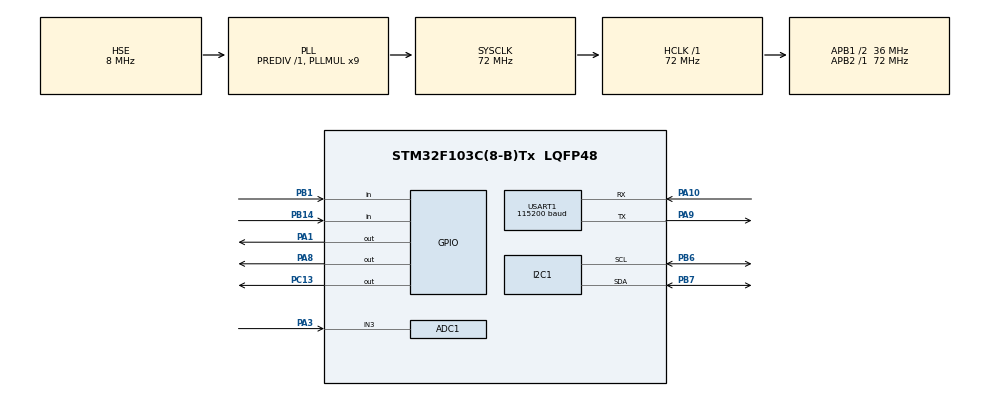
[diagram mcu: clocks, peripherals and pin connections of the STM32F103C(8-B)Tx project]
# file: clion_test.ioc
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ADC1.Channel-0\#ChannelRegularConversion=ADC_CHANNEL_3
ADC1.ExternalTrigConv=ADC_EXTERNALTRIGCONV_T3_TRGO
ADC1.NbrOfConversion=1
ADC1.NbrOfConversionFlag=1
ADC1.Rank-0\#ChannelRegularConversion=1
ADC1.SamplingTime-0\#ChannelRegularConversion=ADC_SAMPLETIME_13CYCLES_5
ADC1.master=1
FREERTOS.INCLUDE_uxTaskGetStackHighWaterMark=1
FREERTOS.INCLUDE_xTaskGetCurrentTaskHandle=1
FREERTOS.Mutexes01=tooken,Dynamic,NULL
FREERTOS.Tasks01=HIGHTask,2,200,HIGHTaskAPP,Default,NULL,Dynamic,NULL,NULL
FREERTOS.configGENERATE_RUN_TIME_STATS=1
FREERTOS.configRECORD_STACK_HIGH_ADDRESS=1
FREERTOS.configUSE_COUNTING_SEMAPHORES=1
FREERTOS.configUSE_STATS_FORMATTING_FUNCTIONS=1
FREERTOS.configUSE_TIMERS=1
FREERTOS.configUSE_TRACE_FACILITY=1
Mcu.Family=STM32F1
Mcu.Name=STM32F103C(8-B)Tx
Mcu.Package=LQFP48
NVIC.ADC1_2_IRQn=true\:6\:0\:true\:false\:true\:true\:true\:true\:true
NVIC.PriorityGroup=NVIC_PRIORITYGROUP_4
NVIC.TIM2_IRQn=true\:5\:0\:false\:false\:true\:true\:true\:true\:true
NVIC.TIM4_IRQn=true\:0\:0\:true\:false\:true\:false\:false\:true\:true
NVIC.TimeBase=TIM4_IRQn
NVIC.TimeBaseIP=TIM4
PA1.Signal=GPIO_Output
PA10.Mode=Asynchronous
PA10.Signal=USART1_RX
PA13.Mode=Serial_Wire
PA13.Signal=SYS_JTMS-SWDIO
PA14.Mode=Serial_Wire
PA14.Signal=SYS_JTCK-SWCLK
PA3.Signal=ADCx_IN3
PA8.PinState=GPIO_PIN_SET
PA8.Signal=GPIO_Output
PA9.Mode=Asynchronous
PA9.Signal=USART1_TX
PB1.GPIO_PuPd=GPIO_PULLUP
PB1.Signal=GPIO_Input
PB14.GPIO_PuPd=GPIO_PULLUP
PB14.Signal=GPIO_Input
PB6.Mode=I2C
PB6.Signal=I2C1_SCL
PB7.Mode=I2C
PB7.Signal=I2C1_SDA
PC13-TAMPER-RTC.PinState=GPIO_PIN_RESET
PC13-TAMPER-RTC.Signal=GPIO_Output
PD0-OSC_IN.Mode=HSE-External-Oscillator
PD0-OSC_IN.Signal=RCC_OSC_IN
PD1-OSC_OUT.Mode=HSE-External-Oscillator
PD1-OSC_OUT.Signal=RCC_OSC_OUT
ProjectManager.HeapSize=0x200
ProjectManager.StackSize=0x400
ProjectManager.TargetToolchain=CMake
RCC.ADCPresc=RCC_ADCPCLK2_DIV6
RCC.AHBFreq_Value=72000000
RCC.APB1CLKDivider=RCC_HCLK_DIV2
RCC.APB1Freq_Value=36000000
RCC.APB1TimFreq_Value=72000000
RCC.APB2Freq_Value=72000000
RCC.APB2TimFreq_Value=72000000
RCC.HCLKFreq_Value=72000000
RCC.PLLMUL=RCC_PLL_MUL9
RCC.PLLSourceVirtual=RCC_PLLSOURCE_HSE
RCC.SYSCLKFreq_VALUE=72000000
RCC.SYSCLKSource=RCC_SYSCLKSOURCE_PLLCLK
RCC.USBFreq_Value=72000000
SH.ADCx_IN3.0=ADC1_IN3,IN3
TIM1.Prescaler=71
TIM2.AutoReloadPreload=TIM_AUTORELOAD_PRELOAD_ENABLE
TIM2.Period=9999
TIM2.Prescaler=7199
USART1.BaudRate=115200
USART1.VirtualMode=VM_ASYNC
VP_FREERTOS_VS_CMSIS_V1.Mode=CMSIS_V1
VP_SYS_VS_tim4.Mode=TIM4
VP_TIM1_VS_ClockSourceINT.Mode=Internal
VP_TIM2_VS_ClockSourceINT.Mode=Internal
board=custom

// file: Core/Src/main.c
/* USER CODE BEGIN Header */
/**
  ******************************************************************************
  * @file           : main.c
  * @brief          : Main program body
  ******************************************************************************
  * @attention
  *
  * Copyright (c) 2025 STMicroelectronics.
  * All rights reserved.
  *
  * This software is licensed under terms that can be found in the LICENSE file
  * in the root directory of this software component.
  * If no LICENSE file comes with this software, it is provided AS-IS.
  *
  ******************************************************************************
  */
/* USER CODE END Header */
#include "main.h"
#include "cmsis_os.h"
#include "adc.h"
#include "i2c.h"
#include "tim.h"
#include "usart.h"
#include "gpio.h"

/* USER CODE BEGIN Includes */
#include "../../Lib/OLED/oled.h"
#include "bsp_ds18b20.h"

#include "semphr.h"
#include "FreeRTOS.h"
#include "task.h"

/* USER CODE END Includes */

/* USER CODE BEGIN PV */
extern osSemaphoreId myCountingSem01Handle;

/* USER CODE END PV */

void SystemClock_Config(void);
void MX_FREERTOS_Init(void);

int main(void)
{

  /* MCU Configuration--------------------------------------------------------*/

  /* Reset of all peripherals, Initializes the Flash interface and the Systick. */
  HAL_Init();

  /* Configure the system clock */
  SystemClock_Config();

  /* Initialize all configured peripherals */
  MX_GPIO_Init();
  MX_I2C1_Init();
  MX_TIM1_Init();
  MX_ADC1_Init();
  MX_TIM2_Init();
  MX_USART1_UART_Init();
  /* USER CODE BEGIN 2 */
  OLED_Init();
  OLED_Clear();
  HAL_Delay(200);

  HAL_GPIO_WritePin(GPIOC, GPIO_PIN_13, 1); // LED OFF
  HAL_TIM_Base_Start_IT(&htim2); // 启动定时�??2，产生中�??
  HAL_UART_Transmit(&huart1, (uint8_t *)"System Start\r\n", 14, 100);

  /* USER CODE END 2 */

  /* Call init function for freertos objects (in cmsis_os2.c) */
  MX_FREERTOS_Init();

  /* Start scheduler */
  osKernelStart();

  /* We should never get here as control is now taken by the scheduler */

  /* Infinite loop */
  while (1)
  {

  }
}

void SystemClock_Config(void)
{
  RCC_OscInitTypeDef RCC_OscInitStruct = {0};
  RCC_ClkInitTypeDef RCC_ClkInitStruct = {0};
  RCC_PeriphCLKInitTypeDef PeriphClkInit = {0};

  /** Initializes the RCC Oscillators according to the specified parameters
  * in the RCC_OscInitTypeDef structure.
  */
  RCC_OscInitStruct.OscillatorType = RCC_OSCILLATORTYPE_HSE;
  RCC_OscInitStruct.HSEState = RCC_HSE_ON;
  RCC_OscInitStruct.HSEPredivValue = RCC_HSE_PREDIV_DIV1;
  RCC_OscInitStruct.HSIState = RCC_HSI_ON;
  RCC_OscInitStruct.PLL.PLLState = RCC_PLL_ON;
  RCC_OscInitStruct.PLL.PLLSource = RCC_PLLSOURCE_HSE;
  RCC_OscInitStruct.PLL.PLLMUL = RCC_PLL_MUL9;
  if (HAL_RCC_OscConfig(&RCC_OscInitStruct) != HAL_OK)
  {
    Error_Handler();
  }

  /** Initializes the CPU, AHB and APB buses clocks
  */
  RCC_ClkInitStruct.ClockType = RCC_CLOCKTYPE_HCLK|RCC_CLOCKTYPE_SYSCLK
                              |RCC_CLOCKTYPE_PCLK1|RCC_CLOCKTYPE_PCLK2;
  RCC_ClkInitStruct.SYSCLKSource = RCC_SYSCLKSOURCE_PLLCLK;
  RCC_ClkInitStruct.AHBCLKDivider = RCC_SYSCLK_DIV1;
  RCC_ClkInitStruct.APB1CLKDivider = RCC_HCLK_DIV2;
  RCC_ClkInitStruct.APB2CLKDivider = RCC_HCLK_DIV1;

  if (HAL_RCC_ClockConfig(&RCC_ClkInitStruct, FLASH_LATENCY_2) != HAL_OK)
  {
    Error_Handler();
  }
  PeriphClkInit.PeriphClockSelection = RCC_PERIPHCLK_ADC;
  PeriphClkInit.AdcClockSelection = RCC_ADCPCLK2_DIV6;
  if (HAL_RCCEx_PeriphCLKConfig(&PeriphClkInit) != HAL_OK)
  {
    Error_Handler();
  }
}

/* USER CODE BEGIN 4 */
static int tim2_counter = 0;
/* USER CODE END 4 */

void HAL_TIM_PeriodElapsedCallback(TIM_HandleTypeDef *htim)
{
  /* USER CODE BEGIN Callback 0 */
   if (htim->Instance == TIM2) {

   }
  /* USER CODE END Callback 0 */
  if (htim->Instance == TIM4) {
    HAL_IncTick();
  }
}

void Error_Handler(void)
{
  __disable_irq();
  while (1)
  {
  }
}

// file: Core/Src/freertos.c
/* USER CODE BEGIN Header */
/**
  ******************************************************************************
  * File Name          : freertos.c
  * Description        : Code for freertos applications
  ******************************************************************************
  * @attention
  *
  * Copyright (c) 2025 STMicroelectronics.
  * All rights reserved.
  *
  * This software is licensed under terms that can be found in the LICENSE file
  * in the root directory of this software component.
  * If no LICENSE file comes with this software, it is provided AS-IS.
  *
  ******************************************************************************
  */
/* USER CODE END Header */

#include "FreeRTOS.h"
#include "task.h"
#include "main.h"
#include "cmsis_os.h"

/* USER CODE BEGIN Includes */
#include "../../Lib/OLED/oled.h"
#include "stdio.h"
#include "string.h"
#include "DHT11.h"
#include "semphr.h"
#include "bsp_ds18b20.h"
#include "usart.h"
#include "button.h"
#include "flexible_button.h"
/* USER CODE END Includes */

/* USER CODE BEGIN PD */
#define Bee_toggle() HAL_GPIO_TogglePin(GPIOA, GPIO_PIN_8)
#define Bee_ON() HAL_GPIO_WritePin(GPIOA, GPIO_PIN_8,0)
#define Bee_OFF() HAL_GPIO_WritePin(GPIOA, GPIO_PIN_8,1)
#define Red_ON() HAL_GPIO_WritePin(GPIOC, GPIO_PIN_13, 0)
#define Red_OFF() HAL_GPIO_WritePin(GPIOC, GPIO_PIN_13, 1)

/* USER CODE END PD */

/* USER CODE BEGIN Variables */
uint8_t message[64];
uint8_t high_water_message[64];
uint32_t adc_value;
int count=0;
/* USER CODE END Variables */
osThreadId HIGHTaskHandle;
osMutexId tookenHandle;

void HIGHTaskAPP(void const * argument);

void MX_FREERTOS_Init(void); /* (MISRA C 2004 rule 8.1) */

/* GetIdleTaskMemory prototype (linked to static allocation support) */
void vApplicationGetIdleTaskMemory( StaticTask_t **ppxIdleTaskTCBBuffer, StackType_t **ppxIdleTaskStackBuffer, uint32_t *pulIdleTaskStackSize );

/* GetTimerTaskMemory prototype (linked to static allocation support) */
void vApplicationGetTimerTaskMemory( StaticTask_t **ppxTimerTaskTCBBuffer, StackType_t **ppxTimerTaskStackBuffer, uint32_t *pulTimerTaskStackSize );

/* Hook prototypes */
void configureTimerForRunTimeStats(void);
unsigned long getRunTimeCounterValue(void);

/* USER CODE BEGIN 1 */
/* Functions needed when configGENERATE_RUN_TIME_STATS is on */
__weak void configureTimerForRunTimeStats(void)
{

}

__weak unsigned long getRunTimeCounterValue(void)
{
return 0;
}
/* USER CODE END 1 */

/* USER CODE BEGIN GET_IDLE_TASK_MEMORY */
static StaticTask_t xIdleTaskTCBBuffer;
static StackType_t xIdleStack[configMINIMAL_STACK_SIZE];

void vApplicationGetIdleTaskMemory( StaticTask_t **ppxIdleTaskTCBBuffer, StackType_t **ppxIdleTaskStackBuffer, uint32_t *pulIdleTaskStackSize )
{
  *ppxIdleTaskTCBBuffer = &xIdleTaskTCBBuffer;
  *ppxIdleTaskStackBuffer = &xIdleStack[0];
  *pulIdleTaskStackSize = configMINIMAL_STACK_SIZE;
  /* place for user code */
}
/* USER CODE END GET_IDLE_TASK_MEMORY */

/* USER CODE BEGIN GET_TIMER_TASK_MEMORY */
static StaticTask_t xTimerTaskTCBBuffer;
static StackType_t xTimerStack[configTIMER_TASK_STACK_DEPTH];

void vApplicationGetTimerTaskMemory( StaticTask_t **ppxTimerTaskTCBBuffer, StackType_t **ppxTimerTaskStackBuffer, uint32_t *pulTimerTaskStackSize )
{
  *ppxTimerTaskTCBBuffer = &xTimerTaskTCBBuffer;
  *ppxTimerTaskStackBuffer = &xTimerStack[0];
  *pulTimerTaskStackSize = configTIMER_TASK_STACK_DEPTH;
  /* place for user code */
}
/* USER CODE END GET_TIMER_TASK_MEMORY */

void MX_FREERTOS_Init(void) {
  /* USER CODE BEGIN Init */
  // 创建队列
  xButtonQueue = xQueueCreate(10, sizeof(ButtonMsg_t));

  // 创建任务
  xTaskCreate(vButtonTask, "BtnScan", 128, NULL, 2, NULL);
  xTaskCreate(vButtonEventTask, "BtnEvent", 256, NULL, 1, NULL);

  /* USER CODE END Init */
  /* Create the mutex(es) */
  /* definition and creation of tooken */
  osMutexDef(tooken);
  tookenHandle = osMutexCreate(osMutex(tooken));

  /* Create the thread(s) */
  /* definition and creation of HIGHTask */
  osThreadDef(HIGHTask, HIGHTaskAPP, osPriorityHigh, 0, 200);
  HIGHTaskHandle = osThreadCreate(osThread(HIGHTask), NULL);

}

void HIGHTaskAPP(void const * argument)
{
  /* USER CODE BEGIN HIGHTaskAPP */
  /* Infinite loop */
  for(;;)
  {
    Red_OFF();
    osDelay(200);
    Red_ON();
    osDelay(100);
  }
  /* USER CODE END HIGHTaskAPP */
}

/* USER CODE BEGIN Application */
// void HAL_ADC_ConvCpltCallback(ADC_HandleTypeDef* hadc) {
//   BaseType_t xHigherPriorityTaskWoken = pdFALSE;
//   if(hadc->Instance==ADC1) {
//     adc_value = HAL_ADC_GetValue(hadc); // 获取ADC转换结果
//
//     if (myBinarySem_ADCdataHandle != NULL) {
//       // 释放信号量，通知任务ADC数据已准备好
//       xSemaphoreGiveFromISR(myBinarySem_ADCdataHandle, &xHigherPriorityTaskWoken);
//       // 如果更高优先级的任务被唤醒，请求进行上下文切�??????????
//       portYIELD_FROM_ISR(xHigherPriorityTaskWoken);
//     }
//   }
// }
// 🔹 扫描任务
void vButtonTask(void *pvParameters)
{
  button_init();

  for (;;) {
    flex_button_scan();
    vTaskDelay(pdMS_TO_TICKS(10));
  }
}

// 🔹 事件处理任务
void vButtonEventTask(void *pvParameters)
{
  ButtonMsg_t msg;
  char temp_message[32];
  for (;;) {
    if (xQueueReceive(xButtonQueue, &msg, portMAX_DELAY) == pdPASS) {
      switch (msg.event) {
        case BTN_EVENT_SINGLE_CLICK:
          sprintf(temp_message,"Button %d Single Click \n", msg.id);
          HAL_UART_Transmit(&huart1, (uint8_t *)temp_message, strlen(temp_message), 100);
          break;
        case BTN_EVENT_DOUBLE_CLICK:
          sprintf(temp_message,"Button %d Double Click\n", msg.id);
          HAL_UART_Transmit(&huart1, (uint8_t *)temp_message, strlen(temp_message), 100);
          break;
        case BTN_EVENT_LONG_PRESS_START:
          sprintf(temp_message,"Button %d Long Press Start\n", msg.id);
          HAL_UART_Transmit(&huart1, (uint8_t *)temp_message, strlen(temp_message), 100);

          break;
        case BTN_EVENT_LONG_PRESS_HOLD:
          sprintf(temp_message,"Button %d Long Press Hold \n", msg.id, msg.event);
          HAL_UART_Transmit(&huart1, (uint8_t *)temp_message, strlen(temp_message), 100);
          break;
        default:
          break;
      }
    }
  }
}

/* USER CODE END Application */
